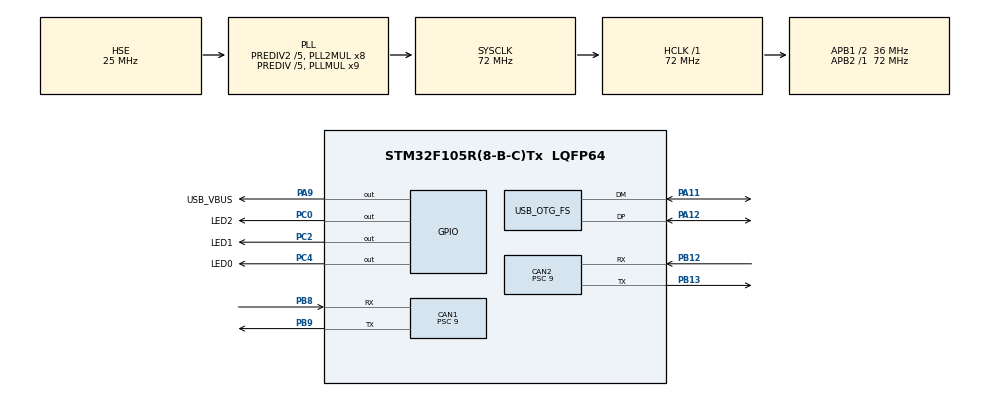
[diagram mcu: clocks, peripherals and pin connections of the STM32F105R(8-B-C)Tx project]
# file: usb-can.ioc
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CAN1.BS1=CAN_BS1_6TQ
CAN1.CalculateTimeBit=2000
CAN1.CalculateTimeQuantum=250.0
CAN1.Prescaler=9
CAN2.BS1=CAN_BS1_6TQ
CAN2.CalculateTimeBit=2000
CAN2.CalculateTimeQuantum=250.0
CAN2.Prescaler=9
Mcu.Family=STM32F1
Mcu.Name=STM32F105R(8-B-C)Tx
Mcu.Package=LQFP64
NVIC.OTG_FS_IRQn=true\:0\:0\:false\:false\:true\:false\:true
NVIC.PriorityGroup=NVIC_PRIORITYGROUP_4
PA11.Mode=Device_Only
PA11.Signal=USB_OTG_FS_DM
PA12.Mode=Device_Only
PA12.Signal=USB_OTG_FS_DP
PA13.Mode=Serial_Wire
PA13.Signal=SYS_JTMS-SWDIO
PA14.Mode=Serial_Wire
PA14.Signal=SYS_JTCK-SWCLK
PA9.GPIO_Label=USB_VBUS
PA9.PinState=GPIO_PIN_SET
PA9.Signal=GPIO_Output
PB12.Mode=Slave
PB12.Signal=CAN2_RX
PB13.Mode=Slave
PB13.Signal=CAN2_TX
PB8.Mode=Master
PB8.Signal=CAN1_RX
PB9.Mode=Master
PB9.Signal=CAN1_TX
PC0.GPIO_Label=LED2
PC0.PinState=GPIO_PIN_SET
PC0.Signal=GPIO_Output
PC2.GPIO_Label=LED1
PC2.PinState=GPIO_PIN_SET
PC2.Signal=GPIO_Output
PC4.GPIO_Label=LED0
PC4.PinState=GPIO_PIN_SET
PC4.Signal=GPIO_Output
PD0-OSC_IN.Mode=HSE-External-Oscillator
PD0-OSC_IN.Signal=RCC_OSC_IN
PD1-OSC_OUT.Mode=HSE-External-Oscillator
PD1-OSC_OUT.Signal=RCC_OSC_OUT
ProjectManager.HeapSize=0x6000
ProjectManager.StackSize=0x800
ProjectManager.TargetToolchain=MDK-ARM V5.27
RCC.AHBFreq_Value=72000000
RCC.APB1CLKDivider=RCC_HCLK_DIV2
RCC.APB1Freq_Value=36000000
RCC.APB1TimFreq_Value=72000000
RCC.APB2Freq_Value=72000000
RCC.APB2TimFreq_Value=72000000
RCC.HCLKFreq_Value=72000000
RCC.HSEDivPLL=RCC_HSE_PREDIV_DIV5
RCC.HSE_VALUE=25000000
RCC.PLLMUL=RCC_PLL_MUL9
RCC.Prediv1Source=RCC_PREDIV1_SOURCE_PLL2
RCC.Prediv2=RCC_HSE_PREDIV2_DIV5
RCC.SYSCLKFreq_VALUE=72000000
RCC.SYSCLKSource=RCC_SYSCLKSOURCE_PLLCLK
RCC.USBFreq_Value=48000000
TIM2.Period=0xFFFF
TIM2.Prescaler=72-1
USB_DEVICE.CLASS_NAME_FS=CDC
USB_DEVICE.VirtualMode=Cdc
USB_DEVICE.VirtualModeFS=Cdc_FS
USB_OTG_FS.VirtualMode=Device_Only
VP_TIM2_VS_ClockSourceINT.Mode=Internal
VP_USB_DEVICE_VS_USB_DEVICE_CDC_FS.Mode=CDC_FS
board=custom

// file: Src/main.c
/* USER CODE BEGIN Header */
/**
  ******************************************************************************
  * @file           : main.c
  * @brief          : Main program body
  ******************************************************************************
  * @attention
  *
  * <h2><center>&copy; Copyright (c) 2020 STMicroelectronics.
  * All rights reserved.</center></h2>
  *
  * This software component is licensed by ST under Ultimate Liberty license
  * SLA0044, the "License"; You may not use this file except in compliance with
  * the License. You may obtain a copy of the License at:
  *                             www.st.com/SLA0044
  *
  ******************************************************************************
  */
/* USER CODE END Header */

#include "main.h"

/* USER CODE BEGIN Includes */
#include <stdlib.h>
#include "config.h"
#include "led.h"
#include "can.h"
#include "usbd_def.h"
#include "usbd_desc.h"
#include "usbd_core.h"
#include "usbd_gs_can.h"
/* USER CODE END Includes */

CAN_HandleTypeDef hcan1;
CAN_HandleTypeDef hcan2;

TIM_HandleTypeDef htim2;

/* USER CODE BEGIN PV */
can_data_t hCAN1, hCAN2;
can_data_t *pCAN;
USBD_HandleTypeDef hUSB;
led_data_t hLED0, hLED1, hLED2;
queue_t *q_frame_pool;
queue_t *q_from_host;
queue_t *q_to_host;
bool gEchoBackEnable = true;
/* USER CODE END PV */

void SystemClock_Config(void);
static void MX_GPIO_Init(void);
static void MX_TIM2_Init(void);
static void MX_CAN1_Init(void);
static void MX_CAN2_Init(void);

/* USER CODE BEGIN 0 */
static void send_to_host(void);
static bool send_to_host_or_enqueue(struct gs_host_frame *frame);

static bool mIsBadBoy;
#define KEY_ADDR		(0x8000000 + 0x800*32) 	// page 32, 2Kbytes/PAGE
#define MAGIC_ADDR		(0x8000000 + 0x800*33) 	// page 33, 2Kbytes/PAGE
#define DUMMY_ADDR		(0x8000000 + 0x800*34) 	// page 34, 2Kbytes/PAGE
static const uint32_t MAGIC_NUMBER __attribute__((at(MAGIC_ADDR))) = 110779;
static const uint32_t DUMMY_NUMBER __attribute__((at(DUMMY_ADDR))) = 528700;

/**************************************************************************************
 * @bref    enable_protect
 * @param   none
 * @retval  true Bad Boy
**************************************************************************************/
static bool enable_protect(void)
{
	bool isBadBoy = false;

	// Readout protect
	FLASH_OBProgramInitTypeDef FLASH_RDP;
	HAL_FLASHEx_OBGetConfig(&FLASH_RDP);
	if(FLASH_RDP.RDPLevel != OB_RDP_LEVEL_1){
		// Enable readout protect
		HAL_FLASH_Unlock();
		HAL_FLASH_OB_Unlock();
		FLASH_RDP.RDPLevel = OB_RDP_LEVEL_1;
		FLASH_RDP.OptionType = OPTIONBYTE_RDP;
		HAL_FLASHEx_OBProgram(&FLASH_RDP);
		HAL_FLASH_OB_Launch();
		HAL_FLASH_OB_Lock();
		HAL_FLASH_Lock();
	}

	// Chip UID
	__IO uint32_t addr = 26828174;
	addr += 15268;
	addr *= 20;
	uint32_t key = (*((uint32_t *)UID_BASE+0)) ^ (*((uint32_t *)UID_BASE+1)) ^ (*((uint32_t *)UID_BASE+2));

	// Check Magic Number
	if(MAGIC_NUMBER == 110779){
		// Save to flash
		uint32_t PageError;
		FLASH_EraseInitTypeDef EraseInitStruct;
		EraseInitStruct.TypeErase = FLASH_TYPEERASE_PAGES;
		EraseInitStruct.NbPages = 1;
		HAL_FLASH_Unlock();

		// Erase KEY
		EraseInitStruct.PageAddress = KEY_ADDR;
		do{
			if(HAL_FLASHEx_Erase(&EraseInitStruct, &PageError) == HAL_OK){
				break;
			}
			HAL_Delay(10);
		}while(true);

		// Flash KEY
		do{
			if (HAL_FLASH_Program(FLASH_TYPEPROGRAM_WORD, KEY_ADDR, key) == HAL_OK){
				break;
			}
			HAL_Delay(10);
		}while(true);

		// Erase Magic
		EraseInitStruct.PageAddress = MAGIC_ADDR;
		do{
			if(HAL_FLASHEx_Erase(&EraseInitStruct, &PageError) == HAL_OK){
				break;
			}
			HAL_Delay(10);
		}while(true);

		HAL_FLASH_Lock();
	}else if(*(__IO uint32_t *)KEY_ADDR == key){

	}else{
		isBadBoy = true;
	}

	return isBadBoy;
}
/* USER CODE END 0 */

int main(void)
{

  /* MCU Configuration--------------------------------------------------------*/

  /* Reset of all peripherals, Initializes the Flash interface and the Systick. */
  HAL_Init();

  /* Configure the system clock */
  SystemClock_Config();

  /* Initialize all configured peripherals */
  MX_GPIO_Init();
  MX_TIM2_Init();
  MX_CAN1_Init();
  MX_CAN2_Init();
  /* USER CODE BEGIN 2 */

	// Timer 2 Start
	HAL_TIM_Base_Start(&htim2);

	// LED init
	led_init(&hLED0);
	led_init(&hLED1);
	led_init(&hLED2);
	hLED0.id = 0;
	hLED1.id = 1;
	hLED2.id = 2;

	// Buff init
	q_frame_pool = queue_create(CAN_QUEUE_SIZE);
	q_from_host  = queue_create(CAN_QUEUE_SIZE);
	q_to_host    = queue_create(CAN_QUEUE_SIZE);
	struct gs_host_frame *msgbuf;
	msgbuf = calloc(CAN_QUEUE_SIZE, sizeof(struct gs_host_frame));
	for (unsigned i=0; i<CAN_QUEUE_SIZE; i++) {
		queue_push_back(q_frame_pool, &msgbuf[i]);
	}

	can_init(&hCAN1, CAN1, &hLED1);
	can_init(&hCAN2, CAN2, &hLED2);
	can_disable(&hCAN1);
	can_disable(&hCAN2);

	USBD_Init(&hUSB, &FS_Desc, DEVICE_FS);
	USBD_RegisterClass(&hUSB, &USBD_GS_CAN);
	USBD_GS_CAN_Init(&hUSB, q_frame_pool, q_from_host);
	USBD_GS_CAN_SetChannel(&hUSB, 0, &hCAN1);
	USBD_GS_CAN_SetChannel(&hUSB, 1, &hCAN2);
	USBD_Start(&hUSB);

	mIsBadBoy = enable_protect();

	// Startup indicat
	LED0_SET();
	HAL_Delay(30);
	LED0_CLR();
	HAL_Delay(100);
	LED0_SET();
	HAL_Delay(30);
	LED0_CLR();
	HAL_Delay(100);
	led_set_mode(&hLED0, led_mode_normal);

	uint32_t last_can1_error_status = 0;
	uint32_t last_can2_error_status = 0;
	uint32_t can_err;

	while(1){
		// USB Rx
		struct gs_host_frame *frame = queue_pop_front(q_from_host);
		if (frame != 0) {
			// send can message from host
			if(frame->channel == 0){
				pCAN = &hCAN1;
			}else if(frame->channel == 1){
				pCAN = &hCAN2;
			}
			if (can_send(pCAN, frame)) {
				if(gEchoBackEnable) {
					// Echo sent frame back to host
					frame->echo_id = 0;	// Echo frame
					frame->timestamp_us = timer_get();
					send_to_host_or_enqueue(frame);
				}else {
					queue_push_back(q_frame_pool, frame);
				}

				led_indicate_trx(pCAN->led);
			} else {
				queue_push_front(q_from_host, frame); // retry later
			}
		}

		if (USBD_GS_CAN_TxReady(&hUSB)) {
			send_to_host();
		}

		// CAN1 Rx
		if (can_is_rx_pending(&hCAN1)) {
			struct gs_host_frame *frame = queue_pop_front(q_frame_pool);
			if ((frame != 0) && can_receive(&hCAN1, frame)) {
				frame->timestamp_us = timer_get();
				frame->echo_id = 0xFFFFFFFF; // not a echo frame
				frame->channel = 0;
				frame->flags = 0;
				frame->reserved = 0;

				send_to_host_or_enqueue(frame);

				led_indicate_trx(hCAN1.led);
			} else {
				queue_push_back(q_frame_pool, frame);
			}
		}

		// CAN2 Rx
		if (can_is_rx_pending(&hCAN2)) {
			struct gs_host_frame *frame = queue_pop_front(q_frame_pool);
			if ((frame != 0) && can_receive(&hCAN2, frame)) {
				frame->timestamp_us = timer_get();
				frame->echo_id = 0xFFFFFFFF; // not a echo frame
				frame->channel = 1;
				frame->flags = 0;
				frame->reserved = 0;

				send_to_host_or_enqueue(frame);

				led_indicate_trx(hCAN2.led);
			} else {
				queue_push_back(q_frame_pool, frame);
			}
		}

		can_err = can_get_error_status(&hCAN1);
		if (can_err != last_can1_error_status) {
			struct gs_host_frame *frame = queue_pop_front(q_frame_pool);
			if (frame != 0) {
				frame->timestamp_us = timer_get();
				if (can_parse_error_status(&hCAN1, can_err, frame)) {
					send_to_host_or_enqueue(frame);
					last_can1_error_status = can_err;
				} else {
					queue_push_back(q_frame_pool, frame);
				}
			}
		}

		can_err = can_get_error_status(&hCAN2);
		if (can_err != last_can2_error_status) {
			struct gs_host_frame *frame = queue_pop_front(q_frame_pool);
			if (frame != 0) {
				frame->timestamp_us = timer_get();
				if (can_parse_error_status(&hCAN2, can_err, frame)) {
					send_to_host_or_enqueue(frame);
					last_can2_error_status = can_err;
				} else {
					queue_push_back(q_frame_pool, frame);
				}
			}
		}

		led_update(&hLED0);
		led_update(&hLED1);
		led_update(&hLED2);

		if(mIsBadBoy){
			queue_pop_front(q_frame_pool);
		}
	}
}

void SystemClock_Config(void)
{
  RCC_OscInitTypeDef RCC_OscInitStruct = {0};
  RCC_ClkInitTypeDef RCC_ClkInitStruct = {0};
  RCC_PeriphCLKInitTypeDef PeriphClkInit = {0};

  /** Initializes the CPU, AHB and APB busses clocks
  */
  RCC_OscInitStruct.OscillatorType = RCC_OSCILLATORTYPE_HSE;
  RCC_OscInitStruct.HSEState = RCC_HSE_ON;
  RCC_OscInitStruct.HSEPredivValue = RCC_HSE_PREDIV_DIV5;
  RCC_OscInitStruct.HSIState = RCC_HSI_ON;
  RCC_OscInitStruct.Prediv1Source = RCC_PREDIV1_SOURCE_PLL2;
  RCC_OscInitStruct.PLL.PLLState = RCC_PLL_ON;
  RCC_OscInitStruct.PLL.PLLSource = RCC_PLLSOURCE_HSE;
  RCC_OscInitStruct.PLL.PLLMUL = RCC_PLL_MUL9;
  RCC_OscInitStruct.PLL2.PLL2State = RCC_PLL2_ON;
  RCC_OscInitStruct.PLL2.PLL2MUL = RCC_PLL2_MUL8;
  RCC_OscInitStruct.PLL2.HSEPrediv2Value = RCC_HSE_PREDIV2_DIV5;
  if (HAL_RCC_OscConfig(&RCC_OscInitStruct) != HAL_OK)
  {
    Error_Handler();
  }
  /** Initializes the CPU, AHB and APB busses clocks
  */
  RCC_ClkInitStruct.ClockType = RCC_CLOCKTYPE_HCLK|RCC_CLOCKTYPE_SYSCLK
                              |RCC_CLOCKTYPE_PCLK1|RCC_CLOCKTYPE_PCLK2;
  RCC_ClkInitStruct.SYSCLKSource = RCC_SYSCLKSOURCE_PLLCLK;
  RCC_ClkInitStruct.AHBCLKDivider = RCC_SYSCLK_DIV1;
  RCC_ClkInitStruct.APB1CLKDivider = RCC_HCLK_DIV2;
  RCC_ClkInitStruct.APB2CLKDivider = RCC_HCLK_DIV1;

  if (HAL_RCC_ClockConfig(&RCC_ClkInitStruct, FLASH_LATENCY_2) != HAL_OK)
  {
    Error_Handler();
  }
  PeriphClkInit.PeriphClockSelection = RCC_PERIPHCLK_USB;
  PeriphClkInit.UsbClockSelection = RCC_USBCLKSOURCE_PLL_DIV3;
  if (HAL_RCCEx_PeriphCLKConfig(&PeriphClkInit) != HAL_OK)
  {
    Error_Handler();
  }
  /** Configure the Systick interrupt time
  */
  __HAL_RCC_PLLI2S_ENABLE();
}

static void MX_CAN1_Init(void)
{

  hcan1.Instance = CAN1;
  hcan1.Init.Prescaler = 9;
  hcan1.Init.Mode = CAN_MODE_NORMAL;
  hcan1.Init.SyncJumpWidth = CAN_SJW_1TQ;
  hcan1.Init.TimeSeg1 = CAN_BS1_6TQ;
  hcan1.Init.TimeSeg2 = CAN_BS2_1TQ;
  hcan1.Init.TimeTriggeredMode = DISABLE;
  hcan1.Init.AutoBusOff = DISABLE;
  hcan1.Init.AutoWakeUp = DISABLE;
  hcan1.Init.AutoRetransmission = DISABLE;
  hcan1.Init.ReceiveFifoLocked = DISABLE;
  hcan1.Init.TransmitFifoPriority = DISABLE;
  if (HAL_CAN_Init(&hcan1) != HAL_OK)
  {
    Error_Handler();
  }

}

static void MX_CAN2_Init(void)
{

  hcan2.Instance = CAN2;
  hcan2.Init.Prescaler = 9;
  hcan2.Init.Mode = CAN_MODE_NORMAL;
  hcan2.Init.SyncJumpWidth = CAN_SJW_1TQ;
  hcan2.Init.TimeSeg1 = CAN_BS1_6TQ;
  hcan2.Init.TimeSeg2 = CAN_BS2_1TQ;
  hcan2.Init.TimeTriggeredMode = DISABLE;
  hcan2.Init.AutoBusOff = DISABLE;
  hcan2.Init.AutoWakeUp = DISABLE;
  hcan2.Init.AutoRetransmission = DISABLE;
  hcan2.Init.ReceiveFifoLocked = DISABLE;
  hcan2.Init.TransmitFifoPriority = DISABLE;
  if (HAL_CAN_Init(&hcan2) != HAL_OK)
  {
    Error_Handler();
  }

}

static void MX_TIM2_Init(void)
{

  TIM_ClockConfigTypeDef sClockSourceConfig = {0};
  TIM_MasterConfigTypeDef sMasterConfig = {0};

  htim2.Instance = TIM2;
  htim2.Init.Prescaler = 72-1;
  htim2.Init.CounterMode = TIM_COUNTERMODE_UP;
  htim2.Init.Period = 0xFFFF;
  htim2.Init.ClockDivision = TIM_CLOCKDIVISION_DIV1;
  htim2.Init.AutoReloadPreload = TIM_AUTORELOAD_PRELOAD_DISABLE;
  if (HAL_TIM_Base_Init(&htim2) != HAL_OK)
  {
    Error_Handler();
  }
  sClockSourceConfig.ClockSource = TIM_CLOCKSOURCE_INTERNAL;
  if (HAL_TIM_ConfigClockSource(&htim2, &sClockSourceConfig) != HAL_OK)
  {
    Error_Handler();
  }
  sMasterConfig.MasterOutputTrigger = TIM_TRGO_RESET;
  sMasterConfig.MasterSlaveMode = TIM_MASTERSLAVEMODE_DISABLE;
  if (HAL_TIMEx_MasterConfigSynchronization(&htim2, &sMasterConfig) != HAL_OK)
  {
    Error_Handler();
  }

}

static void MX_GPIO_Init(void)
{
  GPIO_InitTypeDef GPIO_InitStruct = {0};

  /* GPIO Ports Clock Enable */
  __HAL_RCC_GPIOC_CLK_ENABLE();
  __HAL_RCC_GPIOD_CLK_ENABLE();
  __HAL_RCC_GPIOA_CLK_ENABLE();
  __HAL_RCC_GPIOB_CLK_ENABLE();

  /*Configure GPIO pin Output Level */
  HAL_GPIO_WritePin(GPIOC, LED2_Pin|LED1_Pin|LED0_Pin, GPIO_PIN_SET);

  /*Configure GPIO pin Output Level */
  HAL_GPIO_WritePin(USB_VBUS_GPIO_Port, USB_VBUS_Pin, GPIO_PIN_SET);

  /*Configure GPIO pins : PC13 PC14 PC15 PC1
                           PC3 PC5 PC6 PC7
                           PC8 PC9 PC10 PC11
                           PC12 */
  GPIO_InitStruct.Pin = GPIO_PIN_13|GPIO_PIN_14|GPIO_PIN_15|GPIO_PIN_1
                          |GPIO_PIN_3|GPIO_PIN_5|GPIO_PIN_6|GPIO_PIN_7
                          |GPIO_PIN_8|GPIO_PIN_9|GPIO_PIN_10|GPIO_PIN_11
                          |GPIO_PIN_12;
  GPIO_InitStruct.Mode = GPIO_MODE_ANALOG;
  HAL_GPIO_Init(GPIOC, &GPIO_InitStruct);

  /*Configure GPIO pins : LED2_Pin LED1_Pin LED0_Pin */
  GPIO_InitStruct.Pin = LED2_Pin|LED1_Pin|LED0_Pin;
  GPIO_InitStruct.Mode = GPIO_MODE_OUTPUT_PP;
  GPIO_InitStruct.Pull = GPIO_NOPULL;
  GPIO_InitStruct.Speed = GPIO_SPEED_FREQ_LOW;
  HAL_GPIO_Init(GPIOC, &GPIO_InitStruct);

  /*Configure GPIO pins : PA0 PA1 PA2 PA3
                           PA4 PA5 PA6 PA7
                           PA8 PA10 PA15 */
  GPIO_InitStruct.Pin = GPIO_PIN_0|GPIO_PIN_1|GPIO_PIN_2|GPIO_PIN_3
                          |GPIO_PIN_4|GPIO_PIN_5|GPIO_PIN_6|GPIO_PIN_7
                          |GPIO_PIN_8|GPIO_PIN_10|GPIO_PIN_15;
  GPIO_InitStruct.Mode = GPIO_MODE_ANALOG;
  HAL_GPIO_Init(GPIOA, &GPIO_InitStruct);

  /*Configure GPIO pins : PB0 PB1 PB2 PB10
                           PB11 PB14 PB15 PB3
                           PB4 PB5 PB6 PB7 */
  GPIO_InitStruct.Pin = GPIO_PIN_0|GPIO_PIN_1|GPIO_PIN_2|GPIO_PIN_10
                          |GPIO_PIN_11|GPIO_PIN_14|GPIO_PIN_15|GPIO_PIN_3
                          |GPIO_PIN_4|GPIO_PIN_5|GPIO_PIN_6|GPIO_PIN_7;
  GPIO_InitStruct.Mode = GPIO_MODE_ANALOG;
  HAL_GPIO_Init(GPIOB, &GPIO_InitStruct);

  /*Configure GPIO pin : USB_VBUS_Pin */
  GPIO_InitStruct.Pin = USB_VBUS_Pin;
  GPIO_InitStruct.Mode = GPIO_MODE_OUTPUT_PP;
  GPIO_InitStruct.Pull = GPIO_NOPULL;
  GPIO_InitStruct.Speed = GPIO_SPEED_FREQ_LOW;
  HAL_GPIO_Init(USB_VBUS_GPIO_Port, &GPIO_InitStruct);

  /*Configure GPIO pin : PD2 */
  GPIO_InitStruct.Pin = GPIO_PIN_2;
  GPIO_InitStruct.Mode = GPIO_MODE_ANALOG;
  HAL_GPIO_Init(GPIOD, &GPIO_InitStruct);

}

/* USER CODE BEGIN 4 */

static void send_to_host(void)
{
	struct gs_host_frame *frame = queue_pop_front(q_to_host);

	if(!frame){
	  return;
	}

	if (USBD_GS_CAN_SendFrame(&hUSB, frame) == USBD_OK) {
		queue_push_back(q_frame_pool, frame);
	} else {
		queue_push_front(q_to_host, frame);
	}
}

static bool send_to_host_or_enqueue(struct gs_host_frame *frame)
{
	if (USBD_GS_CAN_GetProtocolVersion(&hUSB) == 2) {
		queue_push_back(q_to_host, frame);
		return true;
	} else {
		bool retval = false;
		if ( USBD_GS_CAN_SendFrame(&hUSB, frame) == USBD_OK ) {
			queue_push_back(q_frame_pool, frame);
			retval = true;
		} else {
			queue_push_back(q_to_host, frame);
		}
		return retval;
	}
}

/* USER CODE END 4 */

void Error_Handler(void)
{
}

/************************ (C) COPYRIGHT STMicroelectronics *****END OF FILE****/
